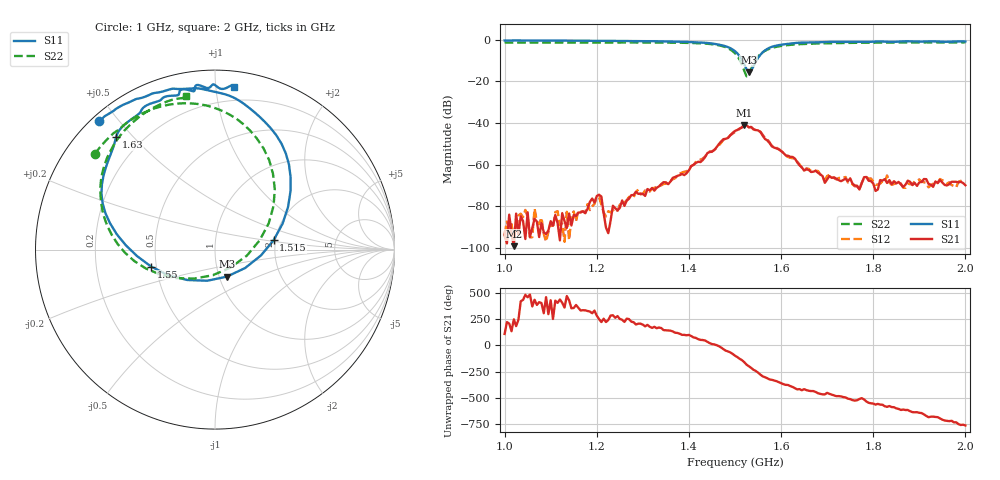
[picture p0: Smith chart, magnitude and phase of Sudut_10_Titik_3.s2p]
# Hz S RI R 50
! CMT, C1220, 16058040, 17.2.0/1
! Date: 14/08/2018 12:36:22
! Data: Format (Calibration Info)
! Freq  S11: Re/Im (F2)  S21: Re/Im (F2)  S12: Re/Im (F2)  S22: Re/Im (F2)
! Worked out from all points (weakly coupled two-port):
!   201 points, 1 GHz to 2 GHz, reference 50 ohm
!   highest |S21| = -40.93 dB at 1.52 GHz (marker M1); lowest = -99.2 dB at 1.02 GHz (marker M2)
!   lowest |S11| = -15.7 dB at 1.53 GHz (marker M3), VSWR 1.39, Z = 54.4 - j16.8 ohm
!   |S11| at or under -10 dB: 1.516 GHz to 1.546 GHz (30.58 MHz wide, 2 % of centre)
!   |S22| runs from -17.5 to -1.2 dB; largest |S21 - S12| = 0.00036
!   S11 on the Smith chart (normalised r, x): 1 GHz: 0.02, +0.44; 1.515 GHz: 1.95, +0.23; 1.55 GHz: 0.47, -0.10; 1.63 GHz: 0.11, +0.45; 2 GHz: 0.10, +1.12
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1e9  -0.6456 0.7145  -6.62e-06 1.89e-05  -8.43e-06 -1.94e-05  -0.6705 0.5331
1.02e9  -0.6253 0.7319  -4.05e-06 -1.02e-05  -1.78e-05 3.48e-06  -0.6595 0.5464
1.17e9  -0.4735 0.8233  6.79e-05 -3.18e-05  7.57e-05 -1.56e-06  -0.5607 0.6516
1.205e9  -0.4269 0.8415  -6.53e-05 -0.000177  -7.31e-05 -0.000148  -0.5302 0.6666
1.215e9  -0.4161 0.8437  -1.84e-05 -6.44e-05  -1.47e-05 -6.87e-05  -0.5267 0.674
1.26e9  -0.3412 0.8718  -7.37e-05 -7.01e-05  -7.25e-05 -9.73e-05  -0.4832 0.713
1.335e9  -0.2115 0.895  -0.000295 4.96e-05  -0.000288 9e-05  -0.3776 0.7709
1.45e9  0.1862 0.793  0.00198 0.000465  0.00204 0.000346  0.0146 0.7834
1.5e9  0.4208 0.3273  -0.000778 -0.00639  -0.000727 -0.00603  0.3331 0.3379
1.515e9  0.3261 0.0514  -0.0059 -0.00513  -0.00581 -0.00531  0.2485 0.0513
1.52e9  0.2556 -0.0328  -0.00833 -0.00338  -0.00841 -0.00348  0.178 -0.0332
1.53e9  0.0663 -0.1506  -0.00754 0.00231  -0.00754 0.00231  -0.0119 -0.1427
1.55e9  -0.3558 -0.0946  -0.00145 0.00649  -0.00165 0.00638  -0.3845 -0.1058
1.58e9  -0.6265 0.2591  0.00227 0.00154  0.00239 0.00154  -0.6139 0.1696
1.63e9  -0.5511 0.6261  0.000976 -0.001  0.00101 -0.000929  -0.6186 0.4604
1.67e9  -0.4329 0.7494  0.0002 -0.000645  0.000212 -0.000714  -0.5669 0.5782
1.75e9  -0.2852 0.8486  -0.0004 -0.000241  -0.000311 -0.000212  -0.4633 0.7049
1.77e9  -0.2321 0.8576  -0.000213 -0.000133  -0.000227 -0.000117  -0.4395 0.7254
1.785e9  -0.203 0.8627  -0.000498 -7.63e-05  -0.000491 -0.000124  -0.4204 0.7396
1.805e9  -0.193 0.8885  -0.000217 8.41e-05  -0.000287 0.000161  -0.3964 0.7574
1.835e9  -0.1261 0.8828  -0.000349 0.000241  -0.000246 0.000274  -0.3613 0.7797
2e9  0.1052 0.9054  0.000247 -0.000201  0.000249 -0.000296  -0.1609 0.8539
